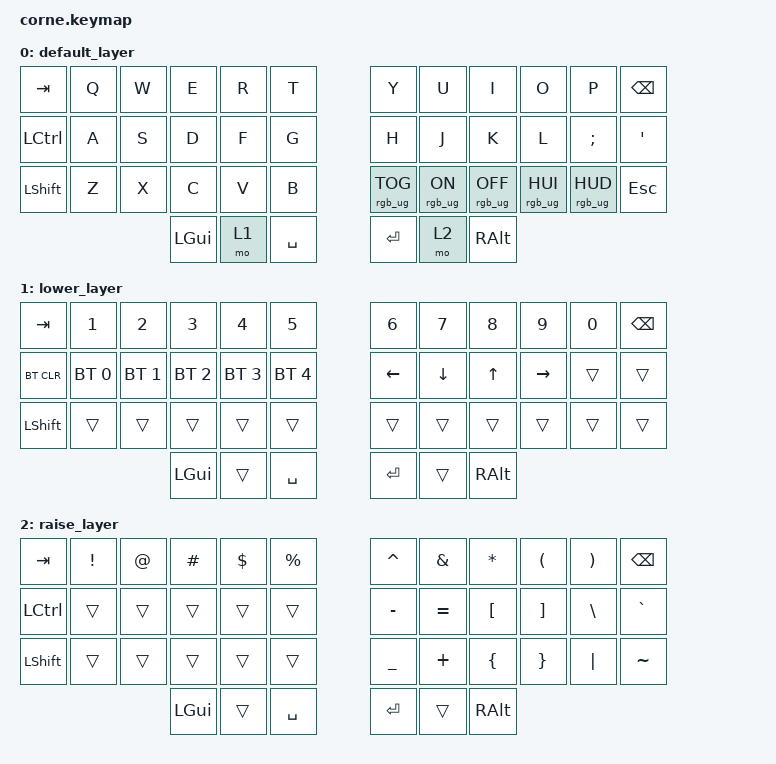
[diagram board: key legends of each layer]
/*
 * Copyright (c) 2020 The ZMK Contributors
 *
 * SPDX-License-Identifier: MIT
 */

#include <behaviors.dtsi>
#include <dt-bindings/zmk/keys.h>
#include <dt-bindings/zmk/bt.h>
#include <dt-bindings/zmk/rgb.h>

//============================================================================//
#include <dt-bindings/led/led.h>

&pinctrl {
    spi3_default: spi3_default {
        group1 {
            psels = <NRF_PSEL(SPIM_MOSI, 0, 6)>;
        };
    };

    spi3_sleep: spi3_sleep {
        group1 {
            psels = <NRF_PSEL(SPIM_MOSI, 0, 6)>;
            low-power-enable;
        };
    };
};

&spi3 {
  compatible = "nordic,nrf-spim";
  status = "okay";

  pinctrl-0 = <&spi3_default>;
  pinctrl-1 = <&spi3_sleep>;
  pinctrl-names = "default", "sleep";

  led_strip: ws2812@0 {
    compatible = "worldsemi,ws2812-spi";

    /* SPI */
    reg = <0>; /* ignored, but necessary for SPI bindings */
    spi-max-frequency = <4000000>;

    /* WS2812 */
    chain-length = <10>; /* number of LEDs */
    spi-one-frame = <0x70>;
    spi-zero-frame = <0x40>;
    color-mapping = <LED_COLOR_ID_GREEN
                          LED_COLOR_ID_RED
                          LED_COLOR_ID_BLUE>;
  };
};

/ {
    chosen {
        zmk,underglow = &led_strip;
    };
};
//==============================================================================//

/ {
        keymap {
                compatible = "zmk,keymap";

                default_layer {
            // -----------------------------------------------------------------------------------------
            // |  TAB |  Q  |  W  |  E  |  R  |  T  |   |  Y  |  U   |  I  |  O  |  P  | BKSP |
            // | CTRL |  A  |  S  |  D  |  F  |  G  |   |  H  |  J   |  K  |  L  |  ;  |  '   |
            // | SHFT |  Z  |  X  |  C  |  V  |  B  |   |  N  |  M   |  ,  |  .  |  /  | ESC  |
            //                    | GUI | LWR | SPC |   | ENT | RSE  | ALT |

            bindings = <
&kp TAB    &kp Q  &kp W  &kp E     &kp R  &kp T        &kp Y            &kp U           &kp I            &kp O            &kp P            &kp BSPC
&kp LCTRL  &kp A  &kp S  &kp D     &kp F  &kp G        &kp H            &kp J           &kp K            &kp L            &kp SEMI         &kp SQT
&kp LSHFT  &kp Z  &kp X  &kp C     &kp V  &kp B        &rgb_ug RGB_TOG  &rgb_ug RGB_ON  &rgb_ug RGB_OFF  &rgb_ug RGB_HUI  &rgb_ug RGB_HUD  &kp ESC
                         &kp LGUI  &mo 1  &kp SPACE    &kp RET          &mo 2           &kp RALT
            >;
        };
                lower_layer {
// -----------------------------------------------------------------------------------------
// |  TAB |  1  |  2  |  3  |  4  |  5  |   |  6  |  7  |  8  |  9  |  0  | BKSP |
// | BTCLR| BT1 | BT2 | BT3 | BT4 | BT5 |   | LFT | DWN |  UP | RGT |     |      |
// | SHFT |     |     |     |     |     |   |     |     |     |     |     |      |
//                    | GUI |     | SPC |   | ENT |     | ALT |
                        bindings = <
   &kp TAB    &kp N1       &kp N2       &kp N3       &kp N4       &kp N5         &kp N6   &kp N7   &kp N8 &kp N9    &kp N0 &kp BSPC
   &bt BT_CLR &bt BT_SEL 0 &bt BT_SEL 1 &bt BT_SEL 2 &bt BT_SEL 3 &bt BT_SEL 4   &kp LEFT &kp DOWN &kp UP &kp RIGHT &trans &trans
   &kp LSHFT  &trans       &trans       &trans       &trans       &trans         &trans   &trans   &trans &trans    &trans &trans
                                    &kp LGUI     &trans       &kp SPACE      &kp RET  &trans   &kp RALT
                        >;
                };

                raise_layer {
// -----------------------------------------------------------------------------------------
// |  TAB |  !  |  @  |  #  |  $  |  %  |   |  ^  |  &  |  *  |  (  |  )  | BKSP |
// | CTRL |     |     |     |     |     |   |  -  |  =  |  [  |  ]  |  \  |  `   |
// | SHFT |     |     |     |     |     |   |  _  |  +  |  {  |  }  | "|" |  ~   |
//                    | GUI |     | SPC |   | ENT |     | ALT |
                        bindings = <
   &kp  TAB  &kp EXCL &kp AT &kp HASH &kp DLLR &kp PRCNT   &kp CARET &kp AMPS  &kp ASTRK &kp LPAR &kp RPAR &kp BSPC
   &kp LCTRL &trans   &trans &trans   &trans   &trans      &kp MINUS &kp EQUAL &kp LBKT  &kp RBKT &kp BSLH &kp GRAVE
   &kp LSHFT &trans   &trans &trans   &trans   &trans      &kp UNDER &kp PLUS  &kp LBRC  &kp RBRC &kp PIPE &kp TILDE
                             &kp LGUI &trans   &kp SPACE   &kp RET   &trans    &kp RALT
                        >;
                };
        };
};
